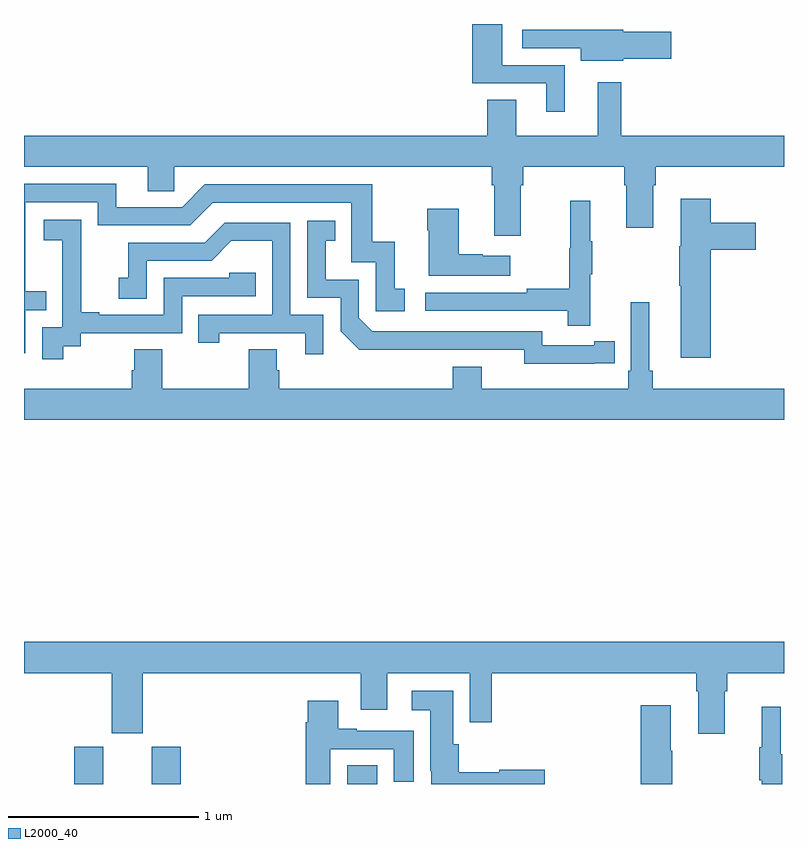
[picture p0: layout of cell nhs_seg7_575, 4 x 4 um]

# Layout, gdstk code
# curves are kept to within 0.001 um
import gdstk
lib = gdstk.Library(unit=1e-6, precision=1e-09)
def R(c, l, rs):  # rectangles x0, y0, x1, y1
    for r in rs: c.add(gdstk.rectangle(r[:2], r[2:], *l))
def P(c, l, *ps):  # polygons
    for p in ps: c.add(gdstk.Polygon(p, *l))
L2000_40 = (2000, 40)

nhs_seg7_575 = lib.new_cell('nhs_seg7_575')
R(nhs_seg7_575, L2000_40, [(155.264,1032,155.416,1032.195), (155.672,1032,155.825,1032.195), (156.701,1032,156.859,1032.098)])
P(nhs_seg7_575, L2000_40, [(157.846,1035.783),(157.516,1035.783),(157.516,1036),(157.358,1036),(157.358,1035.687),(157.748,1035.687),(157.748,1035.537),(157.846,1035.537)],
  [(158.154,1035.817),(158.407,1035.817),(158.407,1035.959),(158.154,1035.959),(158.154,1035.97),(157.935,1035.97),(157.935,1035.969),(157.623,1035.969),(157.623,1035.873),(157.931,1035.873),(157.931,1035.806),(158.154,1035.806)],
  [(157.615,1035.152),(157.628,1035.152),(157.628,1035.248),(158.159,1035.248),(158.159,1035.152),(158.171,1035.152),(158.171,1034.928),(158.311,1034.928),(158.311,1035.152),(158.324,1035.152),(158.324,1035.248),(159,1035.248),(159,1035.412),(158.143,1035.412),(158.143,1035.694),(158.021,1035.694),(158.021,1035.412),(157.591,1035.412),(157.591,1035.602),(157.439,1035.602),(157.439,1035.412),(155,1035.412),(155,1035.248),(155.651,1035.248),(155.651,1035.121),(155.79,1035.121),(155.79,1035.248),(157.463,1035.248),(157.463,1035.152),(157.475,1035.152),(157.475,1034.886),(157.615,1034.886)],
  [(155.007,1034.493),(155.117,1034.493),(155.117,1034.594),(155.007,1034.594),(155.007,1035.063),(155.388,1035.063),(155.388,1034.94),(155.874,1034.94),(155.994,1035.06),(156.723,1035.06),(156.723,1034.745),(156.852,1034.745),(156.852,1034.487),(157.003,1034.487),(157.003,1034.607),(156.95,1034.607),(156.95,1034.853),(156.832,1034.853),(156.832,1035.156),(155.952,1035.156),(155.832,1035.036),(155.485,1035.036),(155.485,1035.159),(155,1035.159),(155,1034.268),(155.007,1034.268)],
  [(158.615,1034.813),(158.851,1034.813),(158.851,1034.955),(158.615,1034.955),(158.615,1035.079),(158.456,1035.079),(158.456,1034.829),(158.449,1034.829),(158.449,1034.623),(158.456,1034.623),(158.456,1034.244),(158.615,1034.244)],
  [(157.979,1034.683),(157.99,1034.683),(157.99,1034.857),(157.979,1034.857),(157.979,1035.07),(157.876,1035.07),(157.876,1034.82),(157.869,1034.82),(157.869,1034.606),(157.645,1034.606),(157.645,1034.586),(157.113,1034.586),(157.113,1034.49),(157.861,1034.49),(157.861,1034.412),(157.979,1034.412)],
  [(157.558,1034.779),(157.415,1034.779),(157.415,1034.789),(157.288,1034.789),(157.288,1035.028),(157.123,1035.028),(157.123,1034.915),(157.13,1034.915),(157.13,1034.675),(157.558,1034.675)],
  [(155.206,1034.305),(155.298,1034.305),(155.298,1034.373),(155.832,1034.373),(155.832,1034.568),(156.221,1034.568),(156.221,1034.691),(156.081,1034.691),(156.081,1034.664),(155.736,1034.664),(155.736,1034.469),(155.395,1034.469),(155.395,1034.482),(155.3,1034.482),(155.3,1034.765),(155.301,1034.765),(155.301,1034.971),(155.103,1034.971),(155.103,1034.861),(155.201,1034.861),(155.201,1034.632),(155.202,1034.632),(155.202,1034.403),(155.097,1034.403),(155.097,1034.235),(155.206,1034.235)],
  [(158,1034.214),(158.108,1034.214),(158.108,1034.33),(158,1034.33),(158,1034.31),(157.728,1034.31),(157.728,1034.382),(156.834,1034.382),(156.762,1034.454),(156.762,1034.655),(156.589,1034.655),(156.589,1034.859),(156.638,1034.859),(156.638,1034.965),(156.492,1034.965),(156.492,1034.559),(156.666,1034.559),(156.666,1034.382),(156.764,1034.285),(157.632,1034.286),(157.632,1034.213)],
  [(156.576,1034.469),(156.402,1034.469),(156.402,1034.955),(156.056,1034.955),(155.951,1034.85),(155.548,1034.85),(155.548,1034.665),(155.499,1034.665),(155.499,1034.555),(155.646,1034.555),(155.646,1034.754),(155.988,1034.754),(156.092,1034.858),(156.306,1034.858),(156.306,1034.469),(155.917,1034.469),(155.917,1034.322),(156.028,1034.322),(156.028,1034.373),(156.479,1034.373),(156.479,1034.262),(156.576,1034.262)],
  [(159,1034.08),(158.309,1034.08),(158.309,1034.176),(158.29,1034.176),(158.29,1034.536),(158.193,1034.536),(158.193,1034.176),(158.18,1034.176),(158.18,1034.08),(157.408,1034.08),(157.408,1034.197),(157.256,1034.197),(157.256,1034.08),(156.344,1034.08),(156.344,1034.178),(156.331,1034.178),(156.331,1034.288),(156.184,1034.288),(156.184,1034.08),(155.727,1034.08),(155.727,1034.288),(155.579,1034.288),(155.579,1034.178),(155.567,1034.178),(155.567,1034.08),(155,1034.08),(155,1033.916),(159,1033.916)],
  [(158.689,1032.488),(158.702,1032.488),(158.702,1032.584),(159,1032.584),(159,1032.748),(155,1032.748),(155,1032.584),(155.462,1032.584),(155.462,1032.267),(155.626,1032.267),(155.626,1032.584),(156.773,1032.584),(156.773,1032.39),(156.913,1032.39),(156.913,1032.584),(157.347,1032.584),(157.347,1032.324),(157.463,1032.324),(157.463,1032.584),(158.537,1032.584),(158.537,1032.488),(158.549,1032.488),(158.549,1032.264),(158.689,1032.264)],
  [(157.741,1032.074),(157.5,1032.074),(157.5,1032.061),(157.289,1032.061),(157.289,1032.21),(157.258,1032.21),(157.258,1032.49),(157.041,1032.49),(157.041,1032.389),(157.139,1032.389),(157.139,1032.07),(157.143,1032.07),(157.143,1032),(157.741,1032)],
  [(156.613,1032.183),(156.947,1032.183),(156.947,1032.012),(157.051,1032.012),(157.051,1032.279),(156.751,1032.279),(156.751,1032.292),(156.655,1032.292),(156.655,1032.439),(156.494,1032.439),(156.494,1032.326),(156.482,1032.326),(156.482,1032),(156.613,1032)],
  [(158.412,1032.176),(158.404,1032.176),(158.404,1032.415),(158.246,1032.415),(158.246,1032),(158.412,1032)],
  [(158.992,1032.156),(158.984,1032.156),(158.984,1032.406),(158.882,1032.406),(158.882,1032.193),(158.871,1032.193),(158.871,1032.019),(158.882,1032.019),(158.882,1032),(158.992,1032)])

lib.write_gds('nhs_seg7_575.gds')
